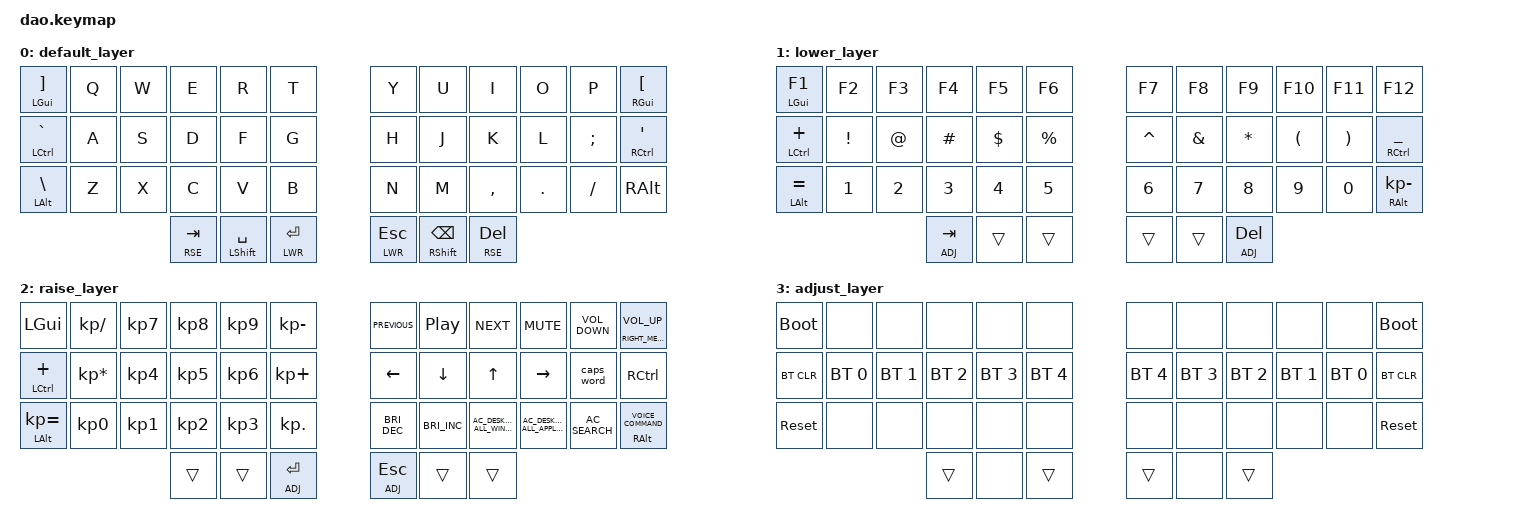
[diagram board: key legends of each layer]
/*
 * Copyright (c) 2021 Rafael Yumagulov
 *
 * SPDX-License-Identifier: MIT
 */

#include <behaviors.dtsi>
#include <dt-bindings/zmk/bt.h>
#include <dt-bindings/zmk/keys.h>

#define DEF 0
#define LWR 1
#define RSE 2
#define ADJ 3

&lt { quick_tap_ms = <200>; };

&mt { quick_tap_ms = <200>; };

/ {
    chosen {
        zmk,matrix_transform = &default_transform;

        // zmk,matrix_transform = &extra_keys_transform;
    };
};

/ {
    combos {
        compatible = "zmk,combos";

        capslock {
            bindings = <&kp CAPSLOCK>;
            key-positions = <37 40>;
            layers = <0>;
        };
    };

    keymap {
        compatible = "zmk,keymap";

        default_layer {
            bindings = <
&mt LEFT_GUI RBKT       &kp Q  &kp W  &kp E        &kp R            &kp T        &kp Y        &kp U                &kp I           &kp O    &kp P     &mt RIGHT_GUI LBKT
&mt LEFT_CONTROL GRAVE  &kp A  &kp S  &kp D        &kp F            &kp G        &kp H        &kp J                &kp K           &kp L    &kp SEMI  &mt RIGHT_CONTROL SQT
&mt LEFT_ALT BACKSLASH  &kp Z  &kp X  &kp C        &kp V            &kp B        &kp N        &kp M                &kp COMMA       &kp DOT  &kp FSLH  &kp RIGHT_ALT
                                      &lt RSE TAB  &mt LSHFT SPACE  &lt LWR RET  &lt LWR ESC  &mt RSHFT BACKSPACE  &lt RSE DELETE
            >;
        };

        lower_layer {
            bindings = <
&mt LGUI F1     &kp F2    &kp F3  &kp F4       &kp F5    &kp F6     &kp F7     &kp F8    &kp F9       &kp F10   &kp F11   &kp F12
&mt LCTRL PLUS  &kp EXCL  &kp AT  &kp HASH     &kp DLLR  &kp PRCNT  &kp CARET  &kp AMPS  &kp STAR     &kp LPAR  &kp RPAR  &mt RCTRL UNDERSCORE
&mt LALT EQUAL  &kp N1    &kp N2  &kp N3       &kp N4    &kp N5     &kp N6     &kp N7    &kp N8       &kp N9    &kp N0    &mt RALT KP_MINUS
                                  &lt ADJ TAB  &trans    &trans     &trans     &trans    &lt ADJ DEL
            >;
        };

        raise_layer {
            bindings = <
&kp LGUI           &kp KP_DIVIDE    &kp KP_NUMBER_7  &kp KP_NUMBER_8  &kp KP_NUMBER_9  &kp KP_MINUS  &kp C_PREVIOUS        &kp C_PLAY_PAUSE      &kp C_NEXT                         &kp C_MUTE                              &kp C_VOLUME_DOWN  &mt RIGHT_META C_VOLUME_UP
&mt LCTRL PLUS     &kp KP_MULTIPLY  &kp KP_NUMBER_4  &kp KP_NUMBER_5  &kp KP_NUMBER_6  &kp KP_PLUS   &kp LEFT_ARROW        &kp DOWN_ARROW        &kp UP                             &kp RIGHT                               &caps_word         &kp RCTRL
&mt LALT KP_EQUAL  &kp KP_NUMBER_0  &kp KP_NUMBER_1  &kp KP_NUMBER_2  &kp KP_NUMBER_3  &kp KP_DOT    &kp C_BRIGHTNESS_DEC  &kp C_BRIGHTNESS_INC  &kp C_AC_DESKTOP_SHOW_ALL_WINDOWS  &kp C_AC_DESKTOP_SHOW_ALL_APPLICATIONS  &kp C_AC_SEARCH    &mt RALT C_VOICE_COMMAND
                                                     &trans           &trans           &lt ADJ RET   &lt ADJ ESC           &trans                &trans
            >;
        };

        adjust_layer {
            bindings = <
&bootloader  &none         &none         &none         &none         &none         &none         &none         &none         &none         &none         &bootloader
&bt BT_CLR   &bt BT_SEL 0  &bt BT_SEL 1  &bt BT_SEL 2  &bt BT_SEL 3  &bt BT_SEL 4  &bt BT_SEL 4  &bt BT_SEL 3  &bt BT_SEL 2  &bt BT_SEL 1  &bt BT_SEL 0  &bt BT_CLR
&sys_reset   &none         &none         &none         &none         &none         &none         &none         &none         &none         &none         &sys_reset
                                         &trans        &none         &trans        &trans        &none         &trans
            >;
        };
    };
};
